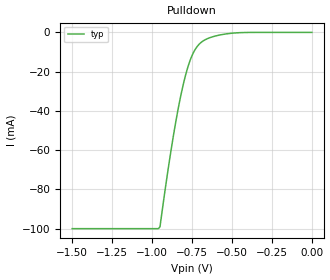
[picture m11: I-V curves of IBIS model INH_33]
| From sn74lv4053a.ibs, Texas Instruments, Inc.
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[Model]   INH_33
Model_type   Input
Vinl = .99
Vinh = 2.32
|   typ   min   max
C_comp   1pf   NA   NA
[Voltage Range]   3.3   NA   NA
[Temperature Range]   27   NA   NA
[Power Clamp Reference]   3.3   NA   NA
[GND Clamp Reference]   -0   NA   NA
[Pulldown]
|   Voltage   I(typ)   I(min)   I(max)
-1.5V     -100mA     NA         NA
-950mV    -99.02mA   NA         NA
-910mV    -75.72mA   NA         NA
-870mV    -54.58mA   NA         NA
-840mV    -40.55mA   NA         NA
-810mV    -28.53mA   NA         NA
-780mV    -18.88mA   NA         NA
-750mV    -11.91mA   NA         NA
-690mV    -4.929mA   NA         NA
-610mV    -1.992mA   NA         NA
-490mV    -347.5uA   NA         NA
0V        0A         NA         NA
